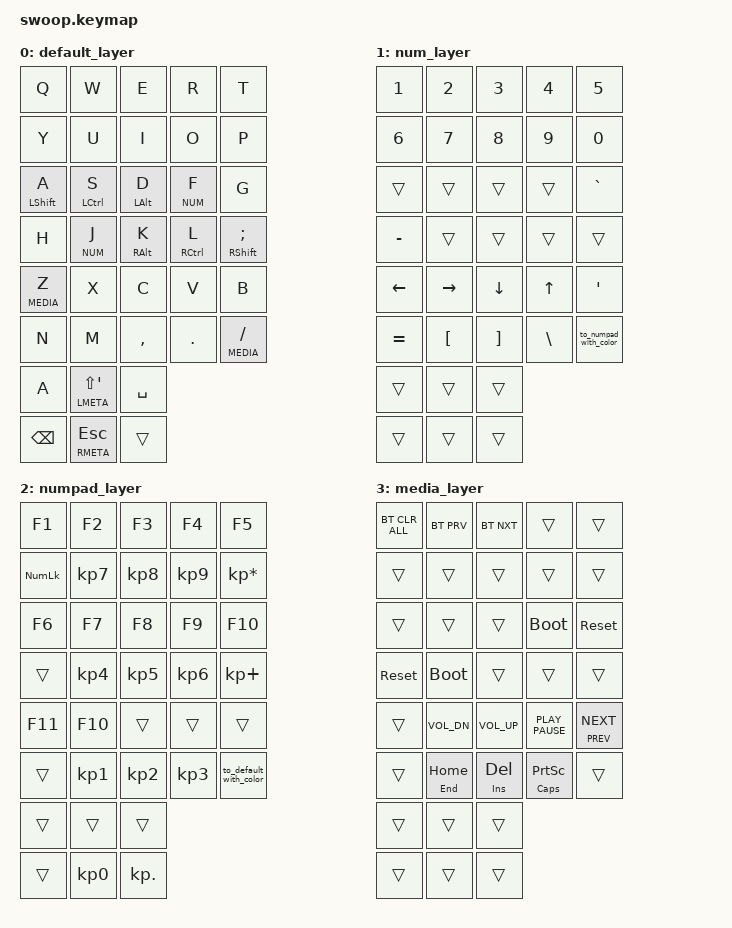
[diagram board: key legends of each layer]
#include <behaviors.dtsi>
#include <dt-bindings/zmk/keys.h>
#include <dt-bindings/zmk/bt.h>
#include <dt-bindings/zmk/outputs.h>
#include <dt-bindings/zmk/rgb.h>

#define DEFAULT 0
#define NUM     1
#define NUMPAD  2
#define MEDIA   3

/ {
    behaviors {
        hm: homerow_mods {
            compatible = "zmk,behavior-hold-tap";
            #binding-cells = <2>;
            tapping-term-ms = <130>;
            flavor = "hold-preferred";
            bindings = <&kp>, <&kp>;
        };
    };
};

/ {
    keymap {
        compatible = "zmk,keymap";

        default_layer {
            bindings = <
                // Top row left hand
                &kp Q         &kp W        &kp E        &kp R        &kp T
                // Top row right hand
                &kp Y         &kp U         &kp I        &kp O        &kp P
                // Middle row left hand
                &hm LSHIFT A  &hm LCTL S    &hm LALT D   &lt NUM F    &kp G
                // Middle row right hand
                &kp H         &lt NUM J     &hm RALT K   &hm RCTL L   &hm RSHIFT SEMI
                // Bottom row left hand
                &lt MEDIA Z   &kp X         &kp C        &kp V        &kp B
                // Bottom row right hand
                &kp N         &kp M         &kp COMMA    &kp DOT      &lt MEDIA FSLH
                // Thumb cluster left
                &kp A         &hm LMETA LS(APOSTROPHE)   &kp SPACE
                // Thumb cluster right
                &kp BSPC      &hm RMETA ESC              &trans
            >;
        };

        num_layer {
            bindings = <
                // Top row left hand
                &kp NUMBER_1  &kp NUMBER_2 &kp NUMBER_3 &kp NUMBER_4 &kp NUMBER_5
                // Top row right hand
                &kp NUMBER_6  &kp NUMBER_7 &kp NUMBER_8 &kp NUMBER_9 &kp NUMBER_0
                // Middle row left hand
                &trans        &trans       &trans       &trans       &kp GRAVE
                // Middle row right hand
                &kp MINUS     &trans       &trans       &trans       &trans
                // Bottom row left hand
                &kp LEFT       &kp RIGHT   &kp DOWN     &kp UP       &kp APOSTROPHE
                // Bottom row right hand
                &kp EQUAL      &kp LBKT    &kp RBKT     &kp BSLH     &to_numpad_with_color
                // Thumb cluster left
                &trans         &trans      &trans
                // Thumb cluster right
                &trans         &trans      &trans
            >;
        };

        numpad_layer {
            bindings = <
                // Top row left hand
                &kp F1         &kp F2    &kp F3    &kp F4    &kp F5
                // Top row right hand
                &kp KP_NUMLOCK &kp KP_N7 &kp KP_N8 &kp KP_N9 &kp KP_ASTERISK
                // Middle row left hand
                &kp F6         &kp F7    &kp F8    &kp F9    &kp F10
                // Middle row right hand
                &trans         &kp KP_N4 &kp KP_N5 &kp KP_N6 &kp KP_PLUS
                // Bottom row left hand
                &kp F11        &kp F10   &trans    &trans    &trans
                // Bottom row right hand
                &trans         &kp KP_N1 &kp KP_N2 &kp KP_N3 &to_default_with_color
                // Thumb cluster left
                &trans         &trans    &trans
                // Thumb cluster right
                &trans         &kp KP_N0 &kp KP_DOT
            >;
        };

        media_layer {
            bindings = <
                // Top row left hand
                &bt BT_CLR_ALL &bt BT_PRV   &bt BT_NXT   &trans             &trans
                // Top row right hand
                &trans         &trans       &trans       &trans             &trans
                // Middle row left hand
                &trans         &trans       &trans       &bootloader        &sys_reset
                // Middle row right hand
                &sys_reset     &bootloader  &trans       &trans             &trans
                // Bottom row left hand
                &trans         &kp K_VOL_DN &kp K_VOL_UP &kp K_PLAY_PAUSE   &mt K_PREV K_NEXT
                // Bottom row right hand
                &trans         &mt END HOME &mt INS DEL  &mt CAPSLOCK PSCRN &trans
                // Thumb cluster left
                &trans            &trans        &trans
                // Thumb cluster right
                &trans            &trans        &trans
            >;
        };

    };
};


/ {
    macros {
        to_numpad_with_color: to_numpad_with_color {
            compatible = "zmk,behavior-macro";
            #binding-cells = <0>;
            // bindings = <&rgb_ug RGB_COLOR_HSB(50,100,70)>, <&to NUMPAD>;
            bindings = <&to NUMPAD>;
        };
        to_default_with_color: to_default_with_color {
            compatible = "zmk,behavior-macro";
            #binding-cells = <0>;
            // bindings = <&rgb_ug RGB_COLOR_HSB(250,60,70)>, <&to DEFAULT>;
            bindings = <&to DEFAULT>;
        };
        macro_ae: macro_ae {
            compatible = "zmk,behavior-macro";
            #binding-cells = <0>;
            bindings = <&kp RA(Q)>, <&kp A>;
        };
        macro_oe: macro_oe {
            compatible = "zmk,behavior-macro";
            #binding-cells = <0>;
            bindings = <&kp RA(Q)>, <&kp S>;
        };
        macro_ue: macro_ue {
            compatible = "zmk,behavior-macro";
            #binding-cells = <0>;
            bindings = <&kp RA(Q)>, <&kp F>;
        };
        macro_ss: macro_ss {
            compatible = "zmk,behavior-macro";
            #binding-cells = <0>;
            bindings = <&kp RA(SEMI)>;
        };
    };
};

/ {
    combos {
        compatible = "zmk,combos";
        combo_enter {
            timeout-ms = <50>;
            key-positions = <12 13>;
            bindings = <&kp RETURN>;
        };
        combo_tab {
            timeout-ms = <50>;
            key-positions = <22 23>;
            bindings = <&kp TAB>;
        };
        combo_ae {
            timeout-ms = <50>;
            key-positions = <2 10>;
            bindings = <&macro_ae>;
        };
        combo_oe {
            timeout-ms = <50>;
            key-positions = <2 11>;
            bindings = <&macro_oe>;
        };
        combo_ue {
            timeout-ms = <50>;
            key-positions = <2 13>;
            bindings = <&macro_ue>;
        };
        combo_ss {
            timeout-ms = <50>;
            key-positions = <2 19>;
            bindings = <&macro_ss>;
        };
        combo_vscode_term {
            timeout-ms = <50>;
            key-positions = <11 12>;
            bindings = <&kp LC(GRAVE)>;
        };
    };
};

/*
&led_strip {
    chain-length = <36>;
};
*/
